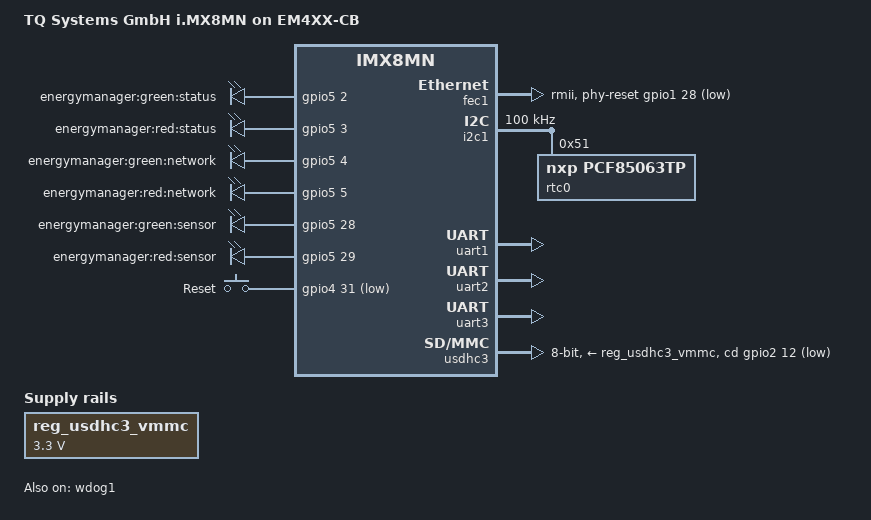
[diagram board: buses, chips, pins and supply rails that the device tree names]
// SPDX-License-Identifier: GPL-2.0+
/*
 * Copyright 2020 TQ Systems GmbH
 */

/dts-v1/;

#include "fsl-imx8mn.dtsi"

/ {
	model = "TQ Systems GmbH i.MX8MN on EM4XX-CB";
	compatible = "tq,em4xx", "fsl,imx8mn";

	aliases {
		mmc0 = &usdhc3;
		/delete-property/ mmc1;
		/delete-property/ mmc2;

		serial1 = &uart3;
		serial2 = &uart2;
	};

	chosen {
		bootargs = "console=ttymxc0,115200 earlycon=ec_imx6q,0x30860000,115200";
		stdout-path = &uart1;
	};

	leds {
		compatible = "gpio-leds";
		pinctrl-names = "default";
		pinctrl-0 = <&pinctrl_leds>;

		status_green {
			label = "energymanager:green:status";
			gpios = <&gpio5 2 GPIO_ACTIVE_HIGH>;
			linux,default-trigger = "timer";
		};

		status_red {
			label = "energymanager:red:status";
			gpios = <&gpio5 3 GPIO_ACTIVE_HIGH>;
		};

		network_green {
			label = "energymanager:green:network";
			gpios = <&gpio5 4 GPIO_ACTIVE_HIGH>;
		};

		network_red {
			label = "energymanager:red:network";
			gpios = <&gpio5 5 GPIO_ACTIVE_HIGH>;
		};

		sensor_green {
			label = "energymanager:green:sensor";
			gpios = <&gpio5 28 GPIO_ACTIVE_HIGH>;
		};

		sensor_red {
			label = "energymanager:red:sensor";
			gpios = <&gpio5 29 GPIO_ACTIVE_HIGH>;
		};
	};

	buttons {
		compatible = "gpio-keys";
		pinctrl-names = "default";
		pinctrl-0 = <&pinctrl_buttons>;

		reset {
			label = "Reset";
			gpios = <&gpio4 31 GPIO_ACTIVE_LOW>;
			linux,code = <KEY_RESTART>;
		};
	};

	reg_usdhc3_vmmc: regulator-vmmc {
		compatible = "regulator-fixed";
		regulator-name = "VSD_3V3";
		regulator-min-microvolt = <3300000>;
		regulator-max-microvolt = <3300000>;
	};

	busfreq {
		status = "disabled";
	};
};

&cpu_crit0 {
	temperature = <105000>;
};

&fec1 {
	pinctrl-names = "default";
	pinctrl-0 = <&pinctrl_fec1>;
	phy-mode = "rmii";
	phy-reset-gpios = <&gpio1 28 GPIO_ACTIVE_LOW>;
	phy-reset-duration = <500>;
	phy-reset-post-delay = <5>;
	fsl,magic-packet;
};

&gpio1 {
	gpio-line-names =
		"", "", "", "",
		"", "", "", "",
		"", "", "", "",
		"energymanager:vbus:enable", "energymanager:vbus:fault#", "", "",
		"", "", "", "",
		"", "", "", "",
		"", "", "", "",
		"", "", "", "";
};

&iomuxc {
	pinctrl-names = "default";
	pinctrl-0 = <&pinctrl_usbrs485>;
	/*
	Pad Control Register

	| 0  | 0    | 0   | 0   | 0x   | 00x |
	| PE | HYS  | PUE | ODE | FSEL | DSE |

	PE: Pull Resistors Enable
	HYS: Hysteresis Enable

	PUE:
	0 — Select pull-down resistors
	1 — Select pull-up resistors

	ODE: Open Drain Enable

	FSEL:
	0x - Select slow slew rate (SR=1)
	1x — Select fast slew rate (SR=0)

	DSE:
	00x — Drive strength X1
	10x — Drive strength X2
	01x — Drive strength X4
	11x — Drive strength X6

	GPIO: 0x80 [HYS|slow|X1] (no pull up)
	I2C: 0x400001C0 [SION|PE|HYS|PUE|slow|X1]
	UART: 0x0 [slow|X1] (no pull up)
	UDHC: 0x1D0 [PE|HYS|PUE|fast|X1]
	UDHC100: 0x1D4 [PE|HYS|PUE|fast|x2]
	UDHC200: 0x1D2 [PE|HYS|PUE|fast|x4]
	ENET_MDIO: 0x0 [slow|x1] (no pull up)
	ENET_TX: 0x0 [slow|x1] (no pull up)
	ENET_RX: 0x90 [HYS|fast|x1] (no pull up)
	ENET_GPIO: 0x10 [fast|x1] (no pull up)
	*/

	pinctrl_buttons: buttongrp {
		fsl,pins = <
			MX8MN_IOMUXC_SAI3_TXFS__GPIO4_IO31		0x80
		>;
	};

	pinctrl_leds: ledgrp {
		fsl,pins = <
			MX8MN_IOMUXC_SAI3_MCLK__GPIO5_IO2		0x80
			MX8MN_IOMUXC_SPDIF_TX__GPIO5_IO3		0x80
			MX8MN_IOMUXC_SPDIF_RX__GPIO5_IO4		0x80
			MX8MN_IOMUXC_SPDIF_EXT_CLK__GPIO5_IO5		0x80
			MX8MN_IOMUXC_UART4_RXD__GPIO5_IO28		0x80
			MX8MN_IOMUXC_UART4_TXD__GPIO5_IO29		0x80
		>;
	};

	pinctrl_fec1: fec1grp {
		fsl,pins = <
			MX8MN_IOMUXC_ENET_MDC__ENET1_MDC		0x0
			MX8MN_IOMUXC_ENET_MDIO__ENET1_MDIO		0x0
			MX8MN_IOMUXC_ENET_TD2__CCMSRCGPCMIX_ENET_REF_CLK_ROOT		0x10
			MX8MN_IOMUXC_ENET_TD1__ENET1_RGMII_TD1		0x0
			MX8MN_IOMUXC_ENET_TD0__ENET1_RGMII_TD0		0x0
			MX8MN_IOMUXC_ENET_RD1__ENET1_RGMII_RD1		0x90
			MX8MN_IOMUXC_ENET_RD0__ENET1_RGMII_RD0		0x90
			MX8MN_IOMUXC_ENET_RX_CTL__ENET1_RGMII_RX_CTL	0x90
			MX8MN_IOMUXC_ENET_TX_CTL__ENET1_RGMII_TX_CTL	0x0

			MX8MN_IOMUXC_ENET_RD2__GPIO1_IO28		0x10
			MX8MN_IOMUXC_ENET_RD3__GPIO1_IO29		0x10
		>;
	};

	pinctrl_usbrs485: usbrs485grp {
		fsl,pins = <
			/* PWR */
			MX8MN_IOMUXC_GPIO1_IO12__GPIO1_IO12	0x80
			/* FAULT */
			MX8MN_IOMUXC_GPIO1_IO13__GPIO1_IO13	0x1C0
		>;
	};

	pinctrl_i2c1: i2c1grp {
		fsl,pins = <
			MX8MN_IOMUXC_I2C1_SCL__I2C1_SCL		0x400001C0
			MX8MN_IOMUXC_I2C1_SDA__I2C1_SDA		0x400001C0
		>;
	};

	pinctrl_ecspi1: ecspi1grp {
		fsl,pins = <
			MX8MN_IOMUXC_ECSPI1_MOSI__ECSPI1_MOSI	0x0
			MX8MN_IOMUXC_ECSPI1_MISO__ECSPI1_MISO	0x0
			MX8MN_IOMUXC_ECSPI1_SCLK__ECSPI1_SCLK	0x0
			MX8MN_IOMUXC_I2C2_SDA__GPIO5_IO17	0x0
		>;
	};

	pinctrl_ecspi2: ecspi2grp {
		fsl,pins = <
			MX8MN_IOMUXC_ECSPI2_MOSI__ECSPI2_MOSI	0x0
			MX8MN_IOMUXC_ECSPI2_MISO__ECSPI2_MISO	0x0
			MX8MN_IOMUXC_ECSPI2_SCLK__ECSPI2_SCLK	0x0
			MX8MN_IOMUXC_ECSPI2_SS0__ECSPI2_SS0	0x0
		>;
	};

	pinctrl_uart1: uart1grp {
		fsl,pins = <
			MX8MN_IOMUXC_UART1_RXD__UART1_DCE_RX	0x0
			MX8MN_IOMUXC_UART1_TXD__UART1_DCE_TX	0x0
		>;
	};

	pinctrl_uart2: uart2grp {
		fsl,pins = <
			MX8MN_IOMUXC_UART2_RXD__UART2_DCE_RX	0x0
			MX8MN_IOMUXC_UART2_TXD__UART2_DCE_TX	0x0
			MX8MN_IOMUXC_SAI3_RXC__UART2_DCE_CTS_B	0x0
		>;
	};

	pinctrl_uart3: uart3grp {
		fsl,pins = <
			MX8MN_IOMUXC_UART3_RXD__UART3_DCE_RX	0x0
			MX8MN_IOMUXC_UART3_TXD__UART3_DCE_TX	0x0
			MX8MN_IOMUXC_SD1_STROBE__UART3_DCE_CTS_B 0x0
		>;
	};

	pinctrl_usdhc3_gpio: usdhc3grpgpio {
		fsl,pins = <
			MX8MN_IOMUXC_SD2_CD_B__GPIO2_IO12	0x80
		>;
	};

	pinctrl_usdhc3: usdhc3grp {
		fsl,pins = <
			MX8MN_IOMUXC_NAND_WE_B__USDHC3_CLK		0x1d0
			MX8MN_IOMUXC_NAND_WP_B__USDHC3_CMD		0x1d0
			MX8MN_IOMUXC_NAND_DATA04__USDHC3_DATA0		0x1d0
			MX8MN_IOMUXC_NAND_DATA05__USDHC3_DATA1		0x1d0
			MX8MN_IOMUXC_NAND_DATA06__USDHC3_DATA2		0x1d0
			MX8MN_IOMUXC_NAND_DATA07__USDHC3_DATA3		0x1d0
			MX8MN_IOMUXC_NAND_RE_B__USDHC3_DATA4		0x1d0
			MX8MN_IOMUXC_NAND_CE2_B__USDHC3_DATA5		0x1d0
			MX8MN_IOMUXC_NAND_CE3_B__USDHC3_DATA6		0x1d0
			MX8MN_IOMUXC_NAND_CLE__USDHC3_DATA7		0x1d0
			MX8MN_IOMUXC_NAND_CE1_B__USDHC3_STROBE 		0x1d0
			MX8MN_IOMUXC_NAND_READY_B__USDHC3_RESET_B	0x80
		>;
	};

	pinctrl_usdhc3_100mhz: usdhc3grp100mhz {
		fsl,pins = <
			MX8MN_IOMUXC_NAND_WE_B__USDHC3_CLK		0x1d4
			MX8MN_IOMUXC_NAND_WP_B__USDHC3_CMD		0x1d4
			MX8MN_IOMUXC_NAND_DATA04__USDHC3_DATA0		0x1d4
			MX8MN_IOMUXC_NAND_DATA05__USDHC3_DATA1		0x1d4
			MX8MN_IOMUXC_NAND_DATA06__USDHC3_DATA2		0x1d4
			MX8MN_IOMUXC_NAND_DATA07__USDHC3_DATA3		0x1d4
			MX8MN_IOMUXC_NAND_RE_B__USDHC3_DATA4		0x1d4
			MX8MN_IOMUXC_NAND_CE2_B__USDHC3_DATA5		0x1d4
			MX8MN_IOMUXC_NAND_CE3_B__USDHC3_DATA6		0x1d4
			MX8MN_IOMUXC_NAND_CLE__USDHC3_DATA7		0x1d4
			MX8MN_IOMUXC_NAND_CE1_B__USDHC3_STROBE 		0x1d4
			MX8MN_IOMUXC_NAND_READY_B__USDHC3_RESET_B	0x80
		>;
	};

	pinctrl_usdhc3_200mhz: usdhc3grp200mhz {
		fsl,pins = <
			MX8MN_IOMUXC_NAND_WE_B__USDHC3_CLK		0x1d2
			MX8MN_IOMUXC_NAND_WP_B__USDHC3_CMD		0x1d2
			MX8MN_IOMUXC_NAND_DATA04__USDHC3_DATA0		0x1d2
			MX8MN_IOMUXC_NAND_DATA05__USDHC3_DATA1		0x1d2
			MX8MN_IOMUXC_NAND_DATA06__USDHC3_DATA2		0x1d2
			MX8MN_IOMUXC_NAND_DATA07__USDHC3_DATA3		0x1d2
			MX8MN_IOMUXC_NAND_RE_B__USDHC3_DATA4		0x1d2
			MX8MN_IOMUXC_NAND_CE2_B__USDHC3_DATA5		0x1d2
			MX8MN_IOMUXC_NAND_CE3_B__USDHC3_DATA6		0x1d2
			MX8MN_IOMUXC_NAND_CLE__USDHC3_DATA7		0x1d2
			MX8MN_IOMUXC_NAND_CE1_B__USDHC3_STROBE 		0x1d2
			MX8MN_IOMUXC_NAND_READY_B__USDHC3_RESET_B	0x80
		>;
	};

	pinctrl_wdog: wdoggrp {
		fsl,pins = <
			MX8MN_IOMUXC_GPIO1_IO02__WDOG1_WDOG_B		0x80
		>;
	};
};

&i2c1 {
	/* Keep this at 100kHz - our hardware can't use I2C fast mode
	 * without violating timing constraints */
	clock-frequency = <100000>;
	pinctrl-names = "default";
	pinctrl-0 = <&pinctrl_i2c1>;
	status = "okay";

	rtc0: rtc@51 {
		compatible = "nxp,pcf85063tp";
		reg = <0x51>;
		quartz-load-femtofarads = <12500>;
	};
};

/* console */
&uart1 {
	pinctrl-names = "default";
	pinctrl-0 = <&pinctrl_uart1>;
	status = "okay";
};

&uart2 {
	pinctrl-names = "default";
	pinctrl-0 = <&pinctrl_uart2>;
	uart-has-rtscts;
	linux,rs485-enabled-at-boot-time;
	status = "okay";
};

&uart3 {
	pinctrl-names = "default";
	pinctrl-0 = <&pinctrl_uart3>;
	uart-has-rtscts;
	linux,rs485-enabled-at-boot-time;
	status = "okay";
};

&usdhc3 {
	pinctrl-names = "default", "state_100mhz", "state_200mhz";
	pinctrl-0 = <&pinctrl_usdhc3>, <&pinctrl_usdhc3_gpio>;
	pinctrl-1 = <&pinctrl_usdhc3_100mhz>, <&pinctrl_usdhc3_gpio>;
	pinctrl-2 = <&pinctrl_usdhc3_200mhz>, <&pinctrl_usdhc3_gpio>;
	bus-width = <8>;
	cd-gpios = <&gpio2 12 GPIO_ACTIVE_LOW>;
	disable-wp;
	vmmc-supply = <&reg_usdhc3_vmmc>;
	status = "okay";
};


&wdog1 {
	pinctrl-names = "default";
	pinctrl-0 = <&pinctrl_wdog>;
	status = "okay";
};
